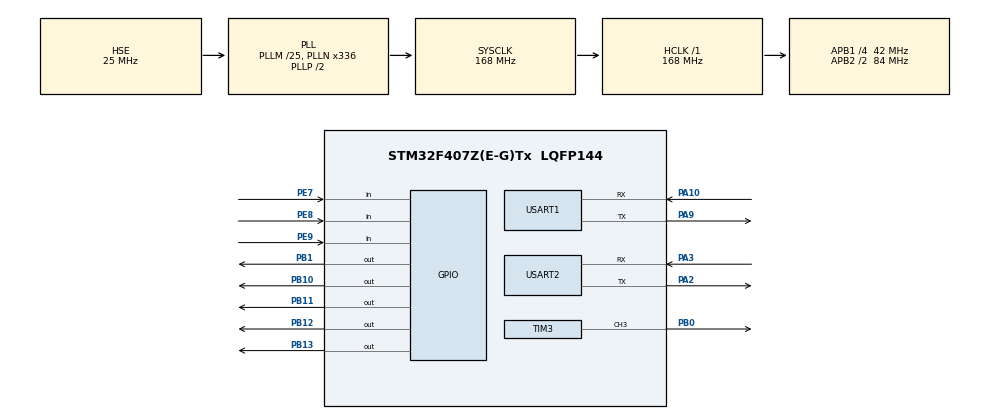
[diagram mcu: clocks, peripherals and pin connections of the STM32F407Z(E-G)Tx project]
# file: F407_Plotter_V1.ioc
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Dma.Request0=USART1_RX
Dma.Request1=USART1_TX
Dma.Request2=USART2_RX
Dma.Request3=USART2_TX
Dma.USART1_RX.0.Direction=DMA_PERIPH_TO_MEMORY
Dma.USART1_RX.0.FIFOMode=DMA_FIFOMODE_DISABLE
Dma.USART1_RX.0.Instance=DMA2_Stream2
Dma.USART1_RX.0.MemDataAlignment=DMA_MDATAALIGN_BYTE
Dma.USART1_RX.0.MemInc=DMA_MINC_ENABLE
Dma.USART1_RX.0.Mode=DMA_CIRCULAR
Dma.USART1_RX.0.PeriphDataAlignment=DMA_PDATAALIGN_BYTE
Dma.USART1_RX.0.PeriphInc=DMA_PINC_DISABLE
Dma.USART1_RX.0.Priority=DMA_PRIORITY_LOW
Dma.USART1_TX.1.Direction=DMA_MEMORY_TO_PERIPH
Dma.USART1_TX.1.FIFOMode=DMA_FIFOMODE_DISABLE
Dma.USART1_TX.1.Instance=DMA2_Stream7
Dma.USART1_TX.1.MemDataAlignment=DMA_MDATAALIGN_BYTE
Dma.USART1_TX.1.MemInc=DMA_MINC_ENABLE
Dma.USART1_TX.1.Mode=DMA_NORMAL
Dma.USART1_TX.1.PeriphDataAlignment=DMA_PDATAALIGN_BYTE
Dma.USART1_TX.1.PeriphInc=DMA_PINC_DISABLE
Dma.USART1_TX.1.Priority=DMA_PRIORITY_LOW
Dma.USART2_RX.2.Direction=DMA_PERIPH_TO_MEMORY
Dma.USART2_RX.2.FIFOMode=DMA_FIFOMODE_DISABLE
Dma.USART2_RX.2.Instance=DMA1_Stream5
Dma.USART2_RX.2.MemDataAlignment=DMA_MDATAALIGN_BYTE
Dma.USART2_RX.2.MemInc=DMA_MINC_ENABLE
Dma.USART2_RX.2.Mode=DMA_CIRCULAR
Dma.USART2_RX.2.PeriphDataAlignment=DMA_PDATAALIGN_BYTE
Dma.USART2_RX.2.PeriphInc=DMA_PINC_DISABLE
Dma.USART2_RX.2.Priority=DMA_PRIORITY_LOW
Dma.USART2_TX.3.Direction=DMA_MEMORY_TO_PERIPH
Dma.USART2_TX.3.FIFOMode=DMA_FIFOMODE_DISABLE
Dma.USART2_TX.3.Instance=DMA1_Stream6
Dma.USART2_TX.3.MemDataAlignment=DMA_MDATAALIGN_BYTE
Dma.USART2_TX.3.MemInc=DMA_MINC_ENABLE
Dma.USART2_TX.3.Mode=DMA_NORMAL
Dma.USART2_TX.3.PeriphDataAlignment=DMA_PDATAALIGN_BYTE
Dma.USART2_TX.3.PeriphInc=DMA_PINC_DISABLE
Dma.USART2_TX.3.Priority=DMA_PRIORITY_LOW
Mcu.Family=STM32F4
Mcu.Name=STM32F407Z(E-G)Tx
Mcu.Package=LQFP144
NVIC.DMA1_Stream5_IRQn=true\:0\:0\:false\:false\:true\:false\:true\:true
NVIC.DMA1_Stream6_IRQn=true\:0\:0\:false\:false\:true\:false\:true\:true
NVIC.DMA2_Stream2_IRQn=true\:0\:0\:false\:false\:true\:false\:true\:true
NVIC.DMA2_Stream7_IRQn=true\:0\:0\:false\:false\:true\:false\:true\:true
NVIC.PriorityGroup=NVIC_PRIORITYGROUP_4
NVIC.TIM6_DAC_IRQn=true\:0\:0\:false\:false\:true\:true\:true\:true
NVIC.USART1_IRQn=true\:0\:0\:false\:false\:true\:true\:true\:true
NVIC.USART2_IRQn=true\:0\:0\:false\:false\:true\:true\:true\:true
PA10.Mode=Asynchronous
PA10.Signal=USART1_RX
PA13.Mode=Serial_Wire
PA13.Signal=SYS_JTMS-SWDIO
PA14.Mode=Serial_Wire
PA14.Signal=SYS_JTCK-SWCLK
PA2.Mode=Asynchronous
PA2.Signal=USART2_TX
PA3.Mode=Asynchronous
PA3.Signal=USART2_RX
PA9.Mode=Asynchronous
PA9.Signal=USART1_TX
PB0.Signal=S_TIM3_CH3
PB1.GPIO_ModeDefaultOutputPP=GPIO_MODE_OUTPUT_PP
PB1.GPIO_PuPd=GPIO_PULLDOWN
PB1.GPIO_Speed=GPIO_SPEED_FREQ_HIGH
PB1.PinState=GPIO_PIN_RESET
PB1.Signal=GPIO_Output
PB10.GPIO_ModeDefaultOutputPP=GPIO_MODE_OUTPUT_PP
PB10.GPIO_PuPd=GPIO_PULLDOWN
PB10.GPIO_Speed=GPIO_SPEED_FREQ_VERY_HIGH
PB10.PinState=GPIO_PIN_RESET
PB10.Signal=GPIO_Output
PB11.GPIO_ModeDefaultOutputPP=GPIO_MODE_OUTPUT_PP
PB11.GPIO_PuPd=GPIO_PULLDOWN
PB11.GPIO_Speed=GPIO_SPEED_FREQ_VERY_HIGH
PB11.PinState=GPIO_PIN_RESET
PB11.Signal=GPIO_Output
PB12.GPIO_ModeDefaultOutputPP=GPIO_MODE_OUTPUT_PP
PB12.GPIO_PuPd=GPIO_PULLDOWN
PB12.GPIO_Speed=GPIO_SPEED_FREQ_VERY_HIGH
PB12.PinState=GPIO_PIN_RESET
PB12.Signal=GPIO_Output
PB13.GPIO_ModeDefaultOutputPP=GPIO_MODE_OUTPUT_PP
PB13.GPIO_PuPd=GPIO_PULLDOWN
PB13.GPIO_Speed=GPIO_SPEED_FREQ_VERY_HIGH
PB13.PinState=GPIO_PIN_RESET
PB13.Signal=GPIO_Output
PE7.GPIO_Mode=GPIO_MODE_INPUT
PE7.GPIO_PuPd=GPIO_PULLUP
PE7.Signal=GPIO_Input
PE8.GPIO_Mode=GPIO_MODE_INPUT
PE8.GPIO_PuPd=GPIO_PULLUP
PE8.Signal=GPIO_Input
PE9.GPIO_Mode=GPIO_MODE_INPUT
PE9.GPIO_PuPd=GPIO_PULLUP
PE9.Signal=GPIO_Input
PH0-OSC_IN.Mode=HSE-External-Oscillator
PH0-OSC_IN.Signal=RCC_OSC_IN
PH1-OSC_OUT.Mode=HSE-External-Oscillator
PH1-OSC_OUT.Signal=RCC_OSC_OUT
ProjectManager.HeapSize=0x200
ProjectManager.StackSize=0x400
ProjectManager.TargetToolchain=CMake
RCC.48MHZClocksFreq_Value=84000000
RCC.AHBFreq_Value=168000000
RCC.APB1CLKDivider=RCC_HCLK_DIV4
RCC.APB1Freq_Value=42000000
RCC.APB1TimFreq_Value=84000000
RCC.APB2CLKDivider=RCC_HCLK_DIV2
RCC.APB2Freq_Value=84000000
RCC.APB2TimFreq_Value=168000000
RCC.CortexFreq_Value=168000000
RCC.HCLKFreq_Value=168000000
RCC.HSE_VALUE=25000000
RCC.HSI_VALUE=16000000
RCC.LSE_VALUE=32768
RCC.PLLM=25
RCC.PLLN=336
RCC.PLLSourceVirtual=RCC_PLLSOURCE_HSE
RCC.SYSCLKFreq_VALUE=168000000
RCC.SYSCLKSource=RCC_SYSCLKSOURCE_PLLCLK
RCC.VCOOutputFreq_Value=336000000
SH.S_TIM3_CH3.0=TIM3_CH3,PWM Generation3 CH3
TIM3.Channel-PWM\ Generation3\ CH3=TIM_CHANNEL_3
TIM3.Prescaler=167
TIM6.Prescaler=83
USART1.VirtualMode=VM_ASYNC
USART2.VirtualMode=VM_ASYNC
VP_TIM6_VS_ClockSourceINT.Mode=Enable_Timer
board=custom

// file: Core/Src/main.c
/* USER CODE BEGIN Header */
/**
  ******************************************************************************
  * @file           : main.c
  * @brief          : Main program body
  ******************************************************************************
  * @attention
  *
  * Copyright (c) 2026 STMicroelectronics.
  * All rights reserved.
  *
  * This software is licensed under terms that can be found in the LICENSE file
  * in the root directory of this software component.
  * If no LICENSE file comes with this software, it is provided AS-IS.
  *
  ******************************************************************************
  */
/* USER CODE END Header */
#include "main.h"
#include "dma.h"
#include "tim.h"
#include "usart.h"
#include "gpio.h"

/* USER CODE BEGIN Includes */
#include "soft_timer.h"
#include "stepper_motor.h"
#include <stdlib.h>
#include <string.h>
#include <math.h>
#include <stdio.h>
/* USER CODE END Includes */

/* USER CODE BEGIN PV */
uint8_t rx_buffer[RX_BUFFER_SIZE];
volatile uint8_t uart_rx_flag = 0;
static uint32_t last_rx_pos = 0; // DMA 循环缓冲区读指针

Plotter_Hardware_t plotter_hw;
extern Plotter_Job_t g_plotter_job;
extern Z_Axis_State_t z_axis_state;
extern DMA_HandleTypeDef hdma_usart1_rx;

#define PLOTTER_DEFAULT_SPEED_HZ  5000

#ifndef PI
#define PI 3.1415926535f
#endif

// 环形指令队列
#define COMMAND_QUEUE_SIZE 10
typedef struct {
    float target_x_mm;
    float target_y_mm;
    float target_z_mm;
    float speed_hz;
    uint8_t has_xy;
    uint8_t has_z;
} Command_t;

typedef struct {
    Command_t commands[COMMAND_QUEUE_SIZE];
    uint8_t head;
    uint8_t tail;
    uint8_t count;
} CommandQueue_t;

static CommandQueue_t command_queue = {0};

// 解析层：用于跟踪上位机发送的“逻辑绝对坐标”
static float last_queued_x = 0, last_queued_y = 0, last_queued_z = 0;
// 执行层：用于跟踪下位机正在执行的“起始坐标”
static float executed_x = 0, executed_y = 0, executed_z = 0;
/* USER CODE END PV */

void SystemClock_Config(void);
/* USER CODE BEGIN PFP */
void ParseUARTCommand(char* cmd);
/* USER CODE END PFP */

/* USER CODE BEGIN 0 */
// 队列基础函数
static void CommandQueue_Init(void) { command_queue.head = 0; command_queue.tail = 0; command_queue.count = 0; }
static uint8_t CommandQueue_IsFull(void) { return (command_queue.count == COMMAND_QUEUE_SIZE); }
static uint8_t CommandQueue_IsEmpty(void) { return (command_queue.count == 0); }
static uint8_t CommandQueue_Enqueue(Command_t *cmd) {
    if (CommandQueue_IsFull()) return 0;
    command_queue.commands[command_queue.tail] = *cmd;
    command_queue.tail = (command_queue.tail + 1) % COMMAND_QUEUE_SIZE;
    command_queue.count++;
    return 1;
}
static uint8_t CommandQueue_Dequeue(Command_t *cmd) {
    if (CommandQueue_IsEmpty()) return 0;
    *cmd = command_queue.commands[command_queue.head];
    command_queue.head = (command_queue.head + 1) % COMMAND_QUEUE_SIZE;
    command_queue.count--;
    return 1;
}

// 安全发送函数：防止 DMA 碰撞死锁
static void Send_UART_Msg(const char* msg) {
    while (huart1.gState != HAL_UART_STATE_READY); // 等待上一个传输完成
    HAL_UART_Transmit_DMA(&huart1, (uint8_t*)msg, strlen(msg));
}

// 执行队列中的指令
static void ExecuteNextCommand(void) {
    if (g_plotter_job.is_busy || z_axis_state.is_busy) return;

    Command_t cmd;
    if (!CommandQueue_Dequeue(&cmd)) return;

    // 计算相对位移（脉冲数）
    if (cmd.has_xy) {
        int32_t pulse_x = (int32_t)((cmd.target_x_mm - executed_x) * STEPS_PER_MM_X);
        int32_t pulse_y = (int32_t)((cmd.target_y_mm - executed_y) * STEPS_PER_MM_Y);
        Plotter_StartLine(pulse_x, pulse_y, (uint16_t)cmd.speed_hz);
        executed_x = cmd.target_x_mm;
        executed_y = cmd.target_y_mm;
    }
    if (cmd.has_z) {
        int32_t pulse_z = (int32_t)((cmd.target_z_mm - executed_z) * STEPS_PER_MM_Z);
        Plotter_SetZ(pulse_z, (uint16_t)cmd.speed_hz);
        executed_z = cmd.target_z_mm;
    }
}

// 解析指令
void ParseUARTCommand(char* cmd) {
    float target_x_mm = last_queued_x;
    float target_y_mm = last_queued_y;
    float target_z_mm = last_queued_z;
    uint8_t has_xy = 0, has_z = 0;
    float speed_hz = PLOTTER_DEFAULT_SPEED_HZ;

    // 处理实时位置查询指令
    if (strstr(cmd, "M114") != NULL) {
        float rx, ry, rz;
        Plotter_GetCurrentPosition(&rx, &ry, &rz);
        static char response[64];
        snprintf(response, sizeof(response), "X%.2f Y%.2f Z%.2f\n", rx, ry, rz);
        Send_UART_Msg(response);
        return;
    }

    char* token = strtok(cmd, " ");
    while (token != NULL) {
        if (token[0] == 'X' || token[0] == 'x') { target_x_mm = atof(token + 1); has_xy = 1; }
        else if (token[0] == 'Y' || token[0] == 'y') { target_y_mm = atof(token + 1); has_xy = 1; }
        else if (token[0] == 'Z' || token[0] == 'z') { target_z_mm = atof(token + 1); has_z = 1; }
        else if (token[0] == 'F' || token[0] == 'f') { speed_hz = atof(token + 1); }
        token = strtok(NULL, " ");
    }

    // 如果包含有效位移，构建并压入队列
    if (has_xy || has_z) {
        Command_t command = {target_x_mm, target_y_mm, target_z_mm, speed_hz, has_xy, has_z};
        if (CommandQueue_Enqueue(&command)) {
            // 解析并排队成功，更新逻辑坐标，并立即回复OK
            if(has_xy){ last_queued_x = target_x_mm; last_queued_y = target_y_mm; }
            if(has_z) { last_queued_z = target_z_mm; }
            Send_UART_Msg("OK\n");
        } else {
            Send_UART_Msg("Error: Queue Full\n");
        }
    }
}
/* USER CODE END 0 */

int main(void)
{

  /* MCU Configuration--------------------------------------------------------*/

  /* Reset of all peripherals, Initializes the Flash interface and the Systick. */
  HAL_Init();

  /* Configure the system clock */
  SystemClock_Config();

  /* Initialize all configured peripherals */
  MX_GPIO_Init();
  MX_DMA_Init();
  MX_TIM3_Init();
  MX_TIM6_Init();
  MX_USART1_UART_Init();
  MX_USART2_UART_Init();
  /* USER CODE BEGIN 2 */
  // 初始化DWT微秒级延时
  DWT_Init();

  // 配置绘图机硬件引脚映射（根据PROJECT_CONTEXT.md中的硬件映射）
  plotter_hw.x_step.port = GPIOB;
  plotter_hw.x_step.pin = GPIO_PIN_10;
  plotter_hw.x_dir.port = GPIOB;
  plotter_hw.x_dir.pin = GPIO_PIN_11;

  plotter_hw.y_step.port = GPIOB;
  plotter_hw.y_step.pin = GPIO_PIN_12;
  plotter_hw.y_dir.port = GPIOB;
  plotter_hw.y_dir.pin = GPIO_PIN_13;

  plotter_hw.z_step.port = GPIOB;
  plotter_hw.z_step.pin = GPIO_PIN_0;  // TIM3_CH3 (PB0) 用于Z轴脉冲
  plotter_hw.z_dir.port = GPIOB;
  plotter_hw.z_dir.pin = GPIO_PIN_1;

  // 初始化绘图机硬件
  Plotter_Init(&plotter_hw);

  // 初始化指令队列
  CommandQueue_Init();

  // 启动UART1 DMA接收（循环模式）并启用IDLE中断
  HAL_UART_Receive_DMA(&huart1, rx_buffer, RX_BUFFER_SIZE);
  __HAL_UART_ENABLE_IT(&huart1, UART_IT_IDLE);

  // 使能电机（PB2低电平有效）
  HAL_GPIO_WritePin(GPIOB, GPIO_PIN_2, GPIO_PIN_RESET);

  // 启动TIM6作为运动心脏（1MHz，12kHz IRQ）
  HAL_TIM_Base_Start_IT(&htim6);
  /* USER CODE END 2 */

  /* Infinite loop */
  while (1)
  {

    /* USER CODE BEGIN 3 */
    // 1. 处理UART接收：解决断包和循环覆盖问题
    if (uart_rx_flag) {
      uart_rx_flag = 0;
      uint32_t curr_rx_pos = RX_BUFFER_SIZE - __HAL_DMA_GET_COUNTER(&hdma_usart1_rx);

      static char line_buf[128];
      static uint16_t line_idx = 0;

      while (last_rx_pos != curr_rx_pos) {
          char c = (char)rx_buffer[last_rx_pos];
          last_rx_pos = (last_rx_pos + 1) % RX_BUFFER_SIZE;

          if (c == '\n' || c == '\r') {
              if (line_idx > 0) {
                  line_buf[line_idx] = '\0';
                  ParseUARTCommand(line_buf); // 解析完整的行
                  line_idx = 0;
              }
          } else if (line_idx < sizeof(line_buf) - 1) {
              line_buf[line_idx++] = c;
          }
      }
    }

    // 2. 限位报错处理（将ISR中的耗时操作移出到主循环）
    if (g_plotter_job.limit_triggered) {
        g_plotter_job.limit_triggered = 0;
        Send_UART_Msg("Error: Limit Switch Triggered!\n");
        CommandQueue_Init(); // 清空队列，防止电机继续撞击

        // 【修复】重新同步底层的实际物理位置，防止下一次绘图坐标错乱
        Plotter_GetCurrentPosition(&executed_x, &executed_y, &executed_z);
        last_queued_x = executed_x;
        last_queued_y = executed_y;
        last_queued_z = executed_z;
    }

    // 3. 自动执行下一条指令
    ExecuteNextCommand();
  }
  /* USER CODE END 3 */
}

void SystemClock_Config(void)
{
  RCC_OscInitTypeDef RCC_OscInitStruct = {0};
  RCC_ClkInitTypeDef RCC_ClkInitStruct = {0};

  /** Configure the main internal regulator output voltage
  */
  __HAL_RCC_PWR_CLK_ENABLE();
  __HAL_PWR_VOLTAGESCALING_CONFIG(PWR_REGULATOR_VOLTAGE_SCALE1);

  /** Initializes the RCC Oscillators according to the specified parameters
  * in the RCC_OscInitTypeDef structure.
  */
  RCC_OscInitStruct.OscillatorType = RCC_OSCILLATORTYPE_HSE;
  RCC_OscInitStruct.HSEState = RCC_HSE_ON;
  RCC_OscInitStruct.PLL.PLLState = RCC_PLL_ON;
  RCC_OscInitStruct.PLL.PLLSource = RCC_PLLSOURCE_HSE;
  RCC_OscInitStruct.PLL.PLLM = 25;
  RCC_OscInitStruct.PLL.PLLN = 336;
  RCC_OscInitStruct.PLL.PLLP = RCC_PLLP_DIV2;
  RCC_OscInitStruct.PLL.PLLQ = 4;
  if (HAL_RCC_OscConfig(&RCC_OscInitStruct) != HAL_OK)
  {
    Error_Handler();
  }

  /** Initializes the CPU, AHB and APB buses clocks
  */
  RCC_ClkInitStruct.ClockType = RCC_CLOCKTYPE_HCLK|RCC_CLOCKTYPE_SYSCLK
                              |RCC_CLOCKTYPE_PCLK1|RCC_CLOCKTYPE_PCLK2;
  RCC_ClkInitStruct.SYSCLKSource = RCC_SYSCLKSOURCE_PLLCLK;
  RCC_ClkInitStruct.AHBCLKDivider = RCC_SYSCLK_DIV1;
  RCC_ClkInitStruct.APB1CLKDivider = RCC_HCLK_DIV4;
  RCC_ClkInitStruct.APB2CLKDivider = RCC_HCLK_DIV2;

  if (HAL_RCC_ClockConfig(&RCC_ClkInitStruct, FLASH_LATENCY_5) != HAL_OK)
  {
    Error_Handler();
  }
}

void Error_Handler(void)
{
  __disable_irq();
  while (1)
  {
  }
}
